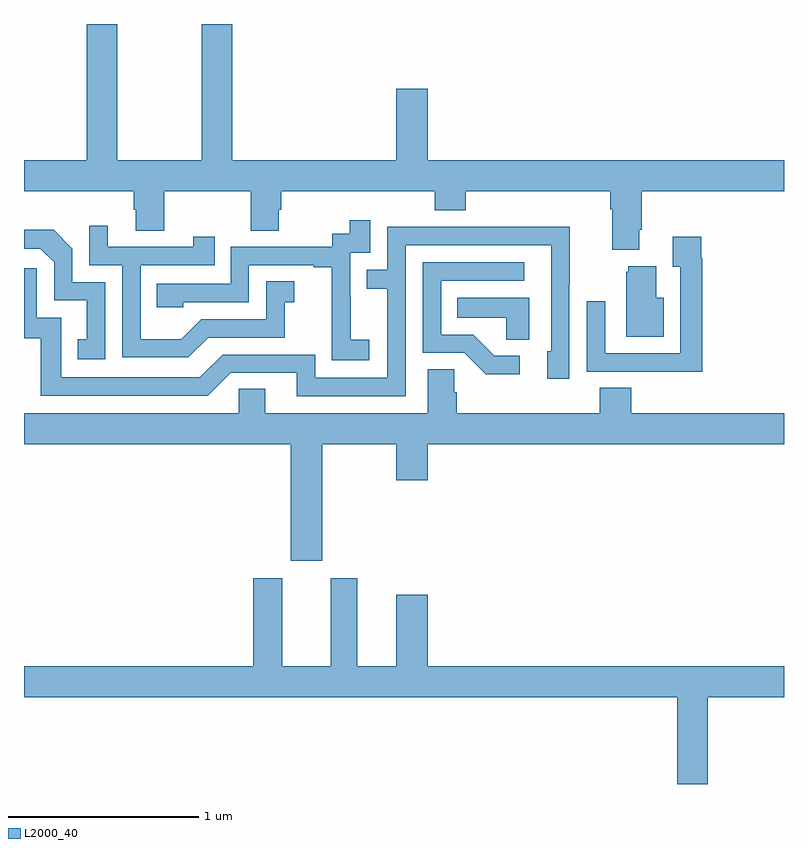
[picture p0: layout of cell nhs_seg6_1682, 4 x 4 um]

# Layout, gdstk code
import gdstk
lib = gdstk.Library(unit=1e-6, precision=1e-09)
def P(c, l, *ps):  # polygons
    for p in ps: c.add(gdstk.Polygon(p, *l))
L2000_40 = (2000, 40)

nhs_seg6_1682 = lib.new_cell('nhs_seg6_1682')
P(nhs_seg6_1682, L2000_40, [(211.577,996.522),(211.589,996.522),(211.589,996.412),(211.737,996.412),(211.737,996.62),(212.194,996.62),(212.194,996.412),(212.341,996.412),(212.341,996.522),(212.354,996.522),(212.354,996.62),(213.161,996.62),(213.161,996.521),(213.326,996.521),(213.326,996.62),(214.085,996.62),(214.085,996.524),(214.097,996.524),(214.097,996.311),(214.237,996.311),(214.237,996.418),(214.25,996.418),(214.25,996.62),(215,996.62),(215,996.784),(213.124,996.784),(213.124,997.159),(212.96,997.159),(212.96,996.784),(212.096,996.784),(212.096,997.5),(211.936,997.5),(211.936,996.784),(211.491,996.784),(211.491,997.5),(211.331,997.5),(211.331,996.784),(211,996.784),(211,996.62),(211.577,996.62)],
  [(212.818,995.839),(212.72,995.839),(212.72,996.068),(212.718,996.068),(212.718,996.297),(212.823,996.297),(212.823,996.466),(212.715,996.466),(212.715,996.396),(212.622,996.396),(212.622,996.327),(212.088,996.327),(212.088,996.132),(211.699,996.132),(211.699,996.009),(211.839,996.009),(211.839,996.036),(212.184,996.036),(212.184,996.231),(212.525,996.231),(212.525,996.219),(212.621,996.219),(212.621,995.935),(212.62,995.935),(212.62,995.729),(212.818,995.729)],
  [(211.969,995.85),(212.373,995.85),(212.373,996.035),(212.422,996.035),(212.422,996.145),(212.274,996.145),(212.274,995.946),(211.932,995.946),(211.828,995.842),(211.614,995.842),(211.614,996.231),(212.003,996.231),(212.003,996.379),(211.892,996.379),(211.892,996.327),(211.441,996.327),(211.441,996.439),(211.344,996.439),(211.344,996.231),(211.518,996.231),(211.518,995.745),(211.864,995.745)],
  [(213.009,996.336),(213.774,996.336),(213.774,995.778),(213.755,995.778),(213.755,995.634),(213.87,995.634),(213.87,996.127),(213.873,996.127),(213.873,996.434),(213.409,996.434),(213.409,996.432),(212.913,996.432),(212.913,996.207),(212.803,996.207),(212.803,996.106),(212.913,996.106),(212.913,995.637),(212.532,995.637),(212.532,995.76),(212.046,995.76),(211.926,995.64),(211.197,995.64),(211.197,995.955),(211.068,995.955),(211.068,996.214),(211,996.214),(211,995.847),(211.089,995.847),(211.089,995.544),(211.968,995.544),(212.088,995.664),(212.435,995.664),(212.435,995.541),(213.009,995.541)],
  [(211.428,996.141),(211.254,996.141),(211.254,996.318),(211.156,996.416),(211,996.416),(211,996.318),(211.086,996.318),(211.158,996.246),(211.158,996.045),(211.331,996.045),(211.331,995.841),(211.282,995.841),(211.282,995.736),(211.428,995.736)],
  [(214.571,996.266),(214.564,996.266),(214.564,996.379),(214.415,996.379),(214.415,996.223),(214.455,996.223),(214.455,995.766),(214.059,995.766),(214.059,996.04),(213.963,996.04),(213.963,995.67),(214.279,995.67),(214.279,995.669),(214.571,995.669)],
  [(213.61,995.754),(213.475,995.754),(213.364,995.865),(213.195,995.865),(213.195,996.15),(213.634,996.15),(213.634,996.246),(213.099,996.246),(213.099,995.769),(213.318,995.769),(213.431,995.657),(213.61,995.657)],
  [(214.366,996.058),(214.327,996.058),(214.327,996.226),(214.181,996.226),(214.181,996.195),(214.169,996.195),(214.169,995.855),(214.366,995.855)],
  [(213.658,996.058),(213.28,996.058),(213.28,995.954),(213.537,995.954),(213.537,995.839),(213.658,995.839)],
  [(212.569,995.288),(212.96,995.288),(212.96,995.1),(213.124,995.1),(213.124,995.288),(215,995.288),(215,995.452),(214.196,995.452),(214.196,995.585),(214.031,995.585),(214.031,995.452),(213.278,995.452),(213.278,995.561),(213.264,995.561),(213.264,995.684),(213.125,995.684),(213.125,995.452),(212.269,995.452),(212.269,995.579),(212.13,995.579),(212.13,995.452),(211,995.452),(211,995.288),(212.405,995.288),(212.405,994.674),(212.569,994.674)],
  [(214.599,993.956),(215,993.956),(215,994.12),(213.124,994.12),(213.124,994.495),(212.96,994.495),(212.96,994.12),(212.755,994.12),(212.755,994.582),(212.615,994.582),(212.615,994.12),(212.359,994.12),(212.359,994.582),(212.207,994.582),(212.207,994.12),(211,994.12),(211,993.956),(214.439,993.956),(214.439,993.5),(214.599,993.5)])

lib.write_gds('nhs_seg6_1682.gds')
